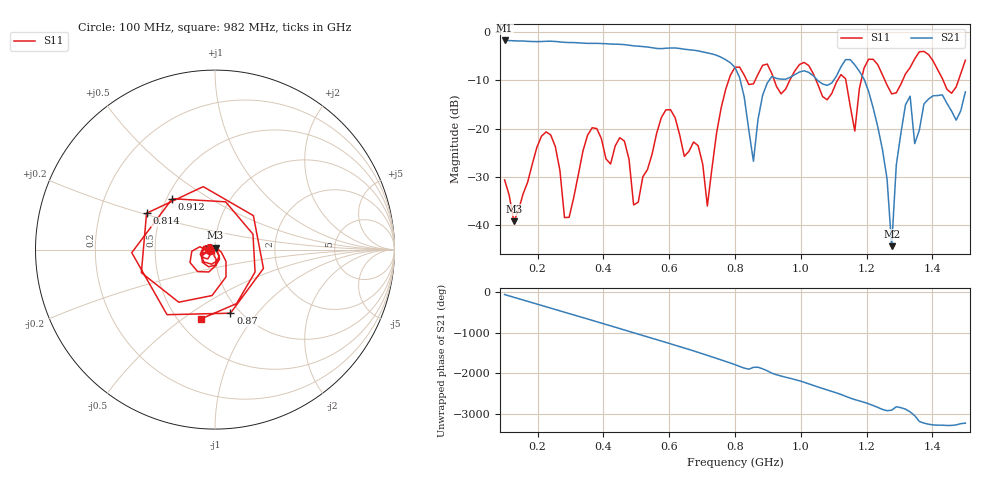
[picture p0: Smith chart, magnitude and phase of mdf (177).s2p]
! NanoVNA-App
! Date: 2025-09-26 09:41:07
! Start: 100MHz Stop: 1,5GHz Points: 101
! S-Parameter data: F S11 S21 S12 S22
# Hz S RI R 50
!  Frequency  S11_Real  S11_Imag  S21_Real  S21_Imag  S12_Real  S12_Imag  S22_Real  S22_Imag
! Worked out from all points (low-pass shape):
!   101 points, 100 MHz to 1.5 GHz, reference 50 ohm
!   highest |S21| = -1.79 dB at 100 MHz (marker M1); lowest = -44.3 dB at 1.276 GHz (marker M2)
!   |S21| within 3 dB of the highest: start of sweep to 740.7 MHz
!   lowest |S11| = -39.2 dB at 128 MHz (marker M3), VSWR 1.02, Z = 50.3 + j1.07 ohm
!   |S11| at or under -10 dB: start of sweep to 780.9 MHz; 1.046 GHz to 1.112 GHz (65.62 MHz wide, 6.08 % of centre); 1.255 GHz to 1.309 GHz (54.2 MHz wide, 4.23 % of centre)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
!   S12 and S22 are empty: the file has one direction only
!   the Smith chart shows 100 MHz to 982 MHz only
!   S11 on the Smith chart (normalised r, x): 100 MHz: 0.94, -0.01; 814 MHz: 0.42, +0.21; 870 MHz: 0.90, -0.74; 912 MHz: 0.53, +0.35; 982 MHz: 0.64, -0.59
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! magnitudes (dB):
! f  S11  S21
! 100 MHz  -30.6  -1.8
! 128 MHz  -39.2  -1.9
! 212 MHz  -21.6  -2.0
! 282 MHz  -38.4  -2.2
! 338 MHz  -24.6  -2.3
! 464 MHz  -22.6  -2.6
! 492 MHz  -35.8  -2.9
! 576 MHz  -17.8  -3.5
! 688 MHz  -23.5  -3.9
! 716 MHz  -36.0  -4.4
! 800 MHz  -7.3  -7.4
! 814 MHz  -7.3  -9.5
! 856 MHz  -10.8  -26.7
! 870 MHz  -8.8  -18.1
! 912 MHz  -8.6  -9.2
! 982 MHz  -8.1  -8.8
! 1.038 GHz  -8.7  -9.1
! 1.164 GHz  -20.5  -6.8
! 1.192 GHz  -7.5  -9.8
! 1.276 GHz  -12.8  -44.3
! 1.318 GHz  -8.7  -15.1
! 1.5 GHz  -5.9  -12.4
